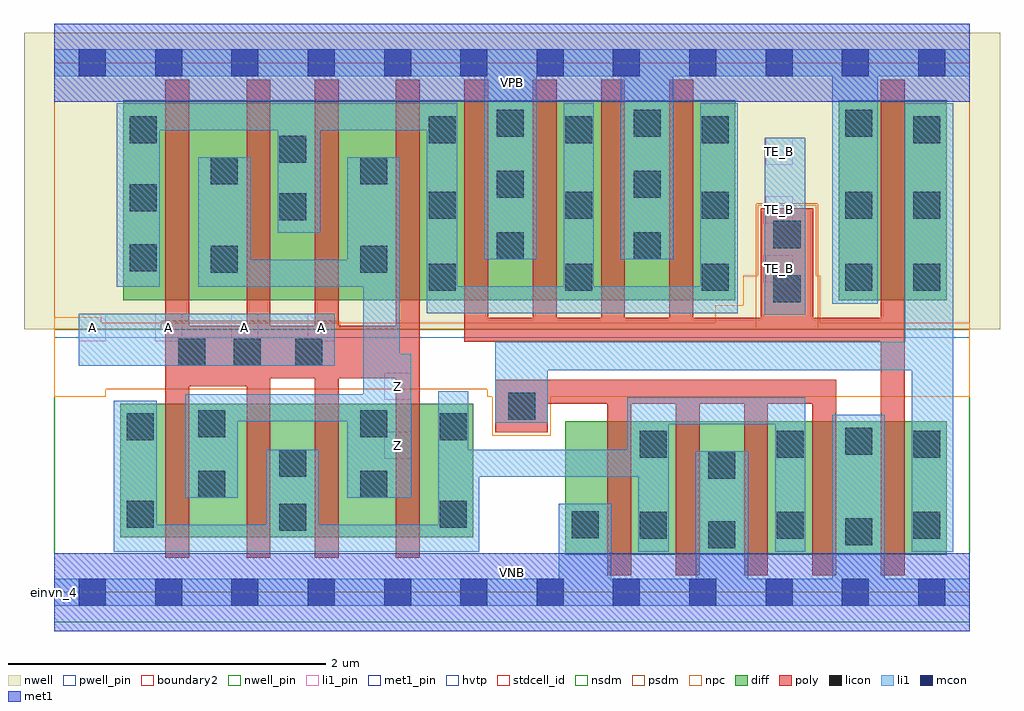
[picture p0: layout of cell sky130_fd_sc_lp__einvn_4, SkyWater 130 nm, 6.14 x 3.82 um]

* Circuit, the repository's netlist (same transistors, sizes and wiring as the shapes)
* Copyright 2020 The SkyWater PDK Authors
*
* Licensed under the Apache License, Version 2.0 (the "License");
* you may not use this file except in compliance with the License.
* You may obtain a copy of the License at
*
*     https://www.apache.org/licenses/LICENSE-2.0
*
* Unless required by applicable law or agreed to in writing, software
* distributed under the License is distributed on an "AS IS" BASIS,
* WITHOUT WARRANTIES OR CONDITIONS OF ANY KIND, either express or implied.
* See the License for the specific language governing permissions and
* limitations under the License.
*
* SPDX-License-Identifier: Apache-2.0

.SUBCKT sky130_fd_sc_lp__einvn_4 A TE_B VGND VNB VPB VPWR Z
*.PININFO A:I TE_B:I VGND:I VNB:I VPB:I VPWR:I Z:O
MMN0 Z A sndA VNB sky130_fd_pr__nfet_01v8 m=4 w=0.84U l=0.15U mult=1 sa=0.265 sb=0.265
+ sd=0.28 area=0.063 perim=1.14
MMN1 sndA TE VGND VNB sky130_fd_pr__nfet_01v8 m=4 w=0.84U l=0.15U mult=1 sa=0.265
+ sb=0.265 sd=0.28 area=0.063 perim=1.14
MMIN1 TE TE_B VGND VNB sky130_fd_pr__nfet_01v8 m=1 w=0.84U l=0.15U mult=1 sa=0.265
+ sb=0.265 sd=0.28 area=0.063 perim=1.14
MMP0 VPWR TE_B sndTEB VPB sky130_fd_pr__pfet_01v8_hvt m=4 w=1.26U l=0.15U mult=1
+ sa=0.265 sb=0.265 sd=0.28 area=0.063 perim=1.14
MMP1 sndTEB A Z VPB sky130_fd_pr__pfet_01v8_hvt m=4 w=1.26U l=0.15U mult=1 sa=0.265
+ sb=0.265 sd=0.28 area=0.063 perim=1.14
MMIP1 TE TE_B VPWR VPB sky130_fd_pr__pfet_01v8_hvt m=1 w=1.26U l=0.15U mult=1 sa=0.265
+ sb=0.265 sd=0.28 area=0.063 perim=1.14
.ENDS sky130_fd_sc_lp__einvn_4

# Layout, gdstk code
import gdstk
lib = gdstk.Library(unit=1e-6, precision=1e-09)
def R(c, l, rs):  # rectangles x0, y0, x1, y1
    for r in rs: c.add(gdstk.rectangle(r[:2], r[2:], *l))
def A(c, l, x, y, w, h, nx, ny, dx, dy):  # array of equal rectangles
    R(c, l, [(x+i*dx, y+j*dy, x+i*dx+w, y+j*dy+h) for i in range(nx) for j in range(ny)])
def P(c, l, *ps):  # polygons
    for p in ps: c.add(gdstk.Polygon(p, *l))
nwell_pin = (64, 16)
nwell = (64, 20)
diff = (65, 20)
poly = (66, 20)
licon = (66, 44)
li1_pin = (67, 16)
li1 = (67, 20)
mcon = (67, 44)
met1_pin = (68, 16)
met1 = (68, 20)
hvtp = (78, 44)
stdcell_id = (81, 4)
nsdm = (93, 44)
psdm = (94, 20)
npc = (95, 20)
pwell_pin = (122, 16)
boundary2 = (236, 0)

sky130_fd_sc_lp__einvn_4 = lib.new_cell('sky130_fd_sc_lp__einvn_4')
R(sky130_fd_sc_lp__einvn_4, nwell_pin, [(0,3.085,5.76,3.33)])
R(sky130_fd_sc_lp__einvn_4, nwell, [(-0.19,1.655,5.95,3.52)])
R(sky130_fd_sc_lp__einvn_4, diff, [(3.215,0.235,5.615,1.075), (0.415,0.345,2.635,1.185), (0.435,1.835,4.285,3.095), (4.935,1.835,5.615,3.095)])
P(sky130_fd_sc_lp__einvn_4, poly, [(2.3,3.225),(2.15,3.225),(2.15,1.675),(1.79,1.675),(1.79,3.225),(1.64,3.225),(1.64,1.675),(1.36,1.675),(1.36,3.225),(1.21,3.225),(1.21,1.675),(0.85,1.675),(0.85,3.225),(0.7,3.225),(0.7,0.215),(0.85,0.215),(0.85,1.295),(1.21,1.295),(1.21,0.215),(1.36,0.215),(1.36,1.345),(1.64,1.345),(1.64,0.215),(1.79,0.215),(1.79,1.345),(2.15,1.345),(2.15,0.215),(2.3,0.215)],
  [(4.92,1.335),(2.775,1.335),(2.775,1.005),(3.105,1.005),(3.105,1.185),(3.48,1.185),(3.48,0.105),(3.63,0.105),(3.63,1.185),(3.91,1.185),(3.91,0.105),(4.06,0.105),(4.06,1.185),(4.34,1.185),(4.34,0.105),(4.49,0.105),(4.49,1.185),(4.77,1.185),(4.77,0.105),(4.92,0.105)],
  [(5.35,3.225),(5.2,3.225),(5.2,1.725),(4.775,1.725),(4.775,2.415),(4.445,2.415),(4.445,1.725),(4.02,1.725),(4.02,3.225),(3.87,3.225),(3.87,1.725),(3.59,1.725),(3.59,3.225),(3.44,3.225),(3.44,1.725),(3.16,1.725),(3.16,3.225),(3.01,3.225),(3.01,1.725),(2.73,1.725),(2.73,3.225),(2.58,3.225),(2.58,1.575),(5.2,1.575),(5.2,0.105),(5.35,0.105)])
A(sky130_fd_sc_lp__einvn_4, licon, 3.685, 0.335, 0.17, 0.17, 3, 2, 0.86, 0.51)
A(sky130_fd_sc_lp__einvn_4, licon, 2.355, 1.895, 0.17, 0.17, 3, 2, 0.86, 0.455)
A(sky130_fd_sc_lp__einvn_4, licon, 2.785, 2.095, 0.17, 0.17, 1, 3, 0, 0.385)
A(sky130_fd_sc_lp__einvn_4, licon, 3.645, 2.095, 0.17, 0.17, 1, 3, 0, 0.385)
A(sky130_fd_sc_lp__einvn_4, licon, 2.355, 2.825, 0.17, 0.17, 3, 1, 0.86, 0)
R(sky130_fd_sc_lp__einvn_4, licon, [(4.115,0.275,4.285,0.445), (4.975,0.295,5.145,0.465), (3.255,0.34,3.425,0.51), (1.415,0.385,1.585,0.555), (0.455,0.405,0.625,0.575), (2.425,0.405,2.595,0.575), (0.905,0.595,1.075,0.765), (1.925,0.595,2.095,0.765), (4.115,0.715,4.285,0.885), (1.415,0.725,1.585,0.895), (4.975,0.865,5.145,1.035), (0.455,0.955,0.625,1.125), (2.425,0.955,2.595,1.125), (0.905,0.975,1.075,1.145), (1.925,0.975,2.095,1.145), (2.855,1.085,3.025,1.255), (0.78,1.425,0.95,1.595), (1.13,1.425,1.3,1.595), (1.515,1.425,1.685,1.595), (4.525,1.825,4.695,1.995), (4.975,1.895,5.145,2.065), (5.405,1.895,5.575,2.065), (0.985,2.01,1.155,2.18), (1.925,2.01,2.095,2.18), (0.475,2.02,0.645,2.19), (4.525,2.165,4.695,2.335), (1.415,2.34,1.585,2.51), (4.975,2.35,5.145,2.52), (5.405,2.35,5.575,2.52), (0.475,2.395,0.645,2.565), (0.985,2.565,1.155,2.735), (1.925,2.565,2.095,2.735), (1.415,2.7,1.585,2.87), (0.475,2.825,0.645,2.995), (5.405,2.825,5.575,2.995), (4.975,2.865,5.145,3.035)])
A(sky130_fd_sc_lp__einvn_4, li1_pin, 0.155, 1.58, 0.17, 0.17, 4, 1, 0.48, 0)
A(sky130_fd_sc_lp__einvn_4, li1_pin, 4.475, 1.95, 0.17, 0.17, 1, 3, 0, 0.37)
R(sky130_fd_sc_lp__einvn_4, li1_pin, [(2.075,0.84,2.245,1.01), (2.075,1.21,2.245,1.38)])
R(sky130_fd_sc_lp__einvn_4, li1, [(0.155,1.425,1.765,1.75), (4.47,1.745,4.725,2.86)])
P(sky130_fd_sc_lp__einvn_4, li1, [(2.705,2.095),(2.705,3.245),(0,3.245),(0,3.415),(5.76,3.415),(5.76,3.245),(5.18,3.245),(5.18,1.815),(4.895,1.815),(4.895,3.245),(3.895,3.245),(3.895,2.095),(3.565,2.095),(3.565,3.245),(3.035,3.245),(3.035,2.095)],
  [(4.035,0.085),(4.035,0.885),(4.365,0.885),(4.365,0.085),(4.895,0.085),(4.895,1.115),(5.225,1.115),(5.225,0.085),(5.76,0.085),(5.76,-0.085),(0,-0.085),(0,0.085),(3.175,0.085),(3.175,0.555),(3.505,0.555),(3.505,0.085)],
  [(1.845,0.595),(1.845,1.075),(1.155,1.075),(1.155,0.595),(0.825,0.595),(0.825,1.245),(1.945,1.245),(1.945,1.92),(0.905,1.92),(0.905,2.735),(1.235,2.735),(1.235,2.09),(1.845,2.09),(1.845,2.735),(2.175,2.735),(2.175,1.5),(2.245,1.5),(2.245,0.595)],
  [(5.35,1.575),(5.35,3.075),(5.655,3.075),(5.655,0.255),(5.395,0.255),(5.395,1.395),(3.105,1.395),(3.105,1.065),(2.775,1.065),(2.775,1.575)],
  [(2.535,1.925),(3.205,1.925),(3.205,3.075),(3.395,3.075),(3.395,1.925),(4.065,1.925),(4.065,3.075),(4.3,3.075),(4.3,1.755),(2.345,1.755),(2.345,2.905),(1.675,2.905),(1.675,2.26),(1.405,2.26),(1.405,2.905),(0.665,2.905),(0.665,1.92),(0.395,1.92),(0.395,3.075),(2.535,3.075)],
  [(4.535,1.055),(3.865,1.055),(3.865,0.255),(3.675,0.255),(3.675,0.725),(2.675,0.725),(2.675,0.255),(0.375,0.255),(0.375,1.205),(0.645,1.205),(0.645,0.425),(1.335,0.425),(1.335,0.895),(1.665,0.895),(1.665,0.425),(2.415,0.425),(2.415,1.265),(2.605,1.265),(2.605,0.895),(3.605,0.895),(3.605,1.225),(4.725,1.225),(4.725,0.255),(4.535,0.255)])
A(sky130_fd_sc_lp__einvn_4, mcon, 0.155, -0.085, 0.17, 0.17, 12, 2, 0.48, 3.33)
R(sky130_fd_sc_lp__einvn_4, met1_pin, [(0,0,5.76,0.245), (0,3.085,5.76,3.33)])
R(sky130_fd_sc_lp__einvn_4, met1, [(0,-0.245,5.76,0.245), (0,3.085,5.76,3.575)])
R(sky130_fd_sc_lp__einvn_4, hvtp, [(0,1.6,5.76,3.33)])
R(sky130_fd_sc_lp__einvn_4, stdcell_id, [(0,0,5.76,3.33)])
R(sky130_fd_sc_lp__einvn_4, nsdm, [(0,-0.19,5.76,1.655)])
P(sky130_fd_sc_lp__einvn_4, psdm, [(5.76,3.52),(0,3.52),(0,1.655),(0.675,1.655),(0.675,1.705),(1.795,1.705),(1.795,1.655),(4.415,1.655),(4.415,2.445),(4.805,2.445),(4.805,1.655),(5.76,1.655)])
P(sky130_fd_sc_lp__einvn_4, npc, [(5.76,1.695),(4.82,1.695),(4.82,1.99),(4.795,1.99),(4.795,2.435),(4.425,2.435),(4.425,1.99),(4.335,1.99),(4.335,1.805),(4.16,1.805),(4.16,1.695),(0.295,1.695),(0.295,1.73),(0,1.73),(0,1.23),(0.325,1.23),(0.325,1.275),(2.725,1.275),(2.725,1.23),(2.755,1.23),(2.755,0.985),(3.125,0.985),(3.125,1.23),(5.76,1.23)])
R(sky130_fd_sc_lp__einvn_4, pwell_pin, [(0,0,5.76,0.245)])
R(sky130_fd_sc_lp__einvn_4, boundary2, [(0,0,5.76,3.33)])
sky130_fd_sc_lp__einvn_4.add(gdstk.Label('VNB', (2.88,0.123), layer=64, texttype=59))
sky130_fd_sc_lp__einvn_4.add(gdstk.Label('VPB', (2.88,3.208), layer=64, texttype=5))
sky130_fd_sc_lp__einvn_4.add(gdstk.Label('einvn_4', (0,0), layer=83, texttype=44))
sky130_fd_sc_lp__einvn_4.add(gdstk.Label('VPWR', (2.88,3.208), layer=68, texttype=5))
sky130_fd_sc_lp__einvn_4.add(gdstk.Label('VGND', (2.88,0.123), layer=68, texttype=5))
sky130_fd_sc_lp__einvn_4.add(gdstk.Label('TE_B', (4.56,2.035), layer=67, texttype=5))
sky130_fd_sc_lp__einvn_4.add(gdstk.Label('TE_B', (4.56,2.405), layer=67, texttype=5))
sky130_fd_sc_lp__einvn_4.add(gdstk.Label('TE_B', (4.56,2.775), layer=67, texttype=5))
sky130_fd_sc_lp__einvn_4.add(gdstk.Label('Z', (2.16,0.925), layer=67, texttype=5))
sky130_fd_sc_lp__einvn_4.add(gdstk.Label('Z', (2.16,1.295), layer=67, texttype=5))
sky130_fd_sc_lp__einvn_4.add(gdstk.Label('A', (0.24,1.665), layer=67, texttype=5))
sky130_fd_sc_lp__einvn_4.add(gdstk.Label('A', (0.72,1.665), layer=67, texttype=5))
sky130_fd_sc_lp__einvn_4.add(gdstk.Label('A', (1.2,1.665), layer=67, texttype=5))
sky130_fd_sc_lp__einvn_4.add(gdstk.Label('A', (1.68,1.665), layer=67, texttype=5))

lib.write_gds('sky130_fd_sc_lp__einvn_4.gds')
